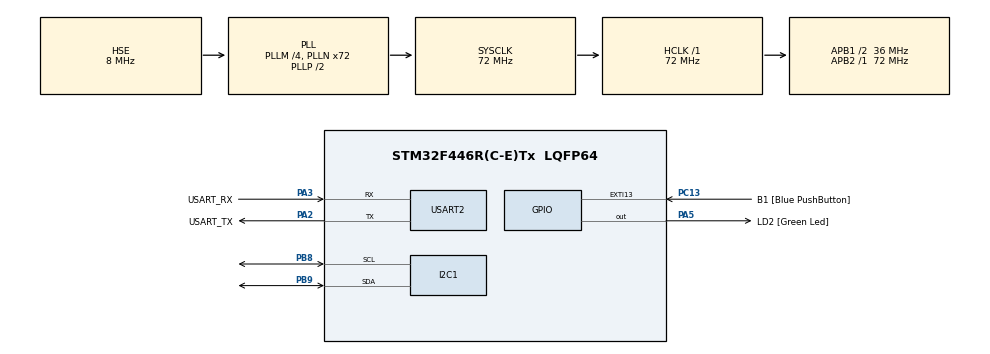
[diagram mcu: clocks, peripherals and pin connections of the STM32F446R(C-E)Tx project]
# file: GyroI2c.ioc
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Mcu.Family=STM32F4
Mcu.Name=STM32F446R(C-E)Tx
Mcu.Package=LQFP64
NVIC.I2C1_EV_IRQn=true\:0\:0\:false\:false\:true\:true\:true\:true
NVIC.PriorityGroup=NVIC_PRIORITYGROUP_0
PA13.GPIO_Label=TMS
PA13.Mode=Trace_Asynchronous_SW
PA13.Signal=SYS_JTMS-SWDIO
PA14.GPIO_Label=TCK
PA14.Mode=Trace_Asynchronous_SW
PA14.Signal=SYS_JTCK-SWCLK
PA2.GPIO_Label=USART_TX
PA2.Mode=Asynchronous
PA2.Signal=USART2_TX
PA3.GPIO_Label=USART_RX
PA3.Mode=Asynchronous
PA3.Signal=USART2_RX
PA5.GPIO_Label=LD2 [Green Led]
PA5.Signal=GPIO_Output
PB3.GPIO_Label=SWO
PB3.Mode=Trace_Asynchronous_SW
PB3.Signal=SYS_JTDO-SWO
PB8.GPIO_Pu=GPIO_PULLUP
PB8.Mode=I2C
PB8.Signal=I2C1_SCL
PB9.GPIO_Pu=GPIO_PULLUP
PB9.Mode=I2C
PB9.Signal=I2C1_SDA
PC13.GPIO_Label=B1 [Blue PushButton]
PC13.GPIO_ModeDefaultEXTI=GPIO_MODE_IT_FALLING
PC13.Signal=GPXTI13
PC14-OSC32_IN.Mode=LSE-External-Oscillator
PC14-OSC32_IN.Signal=RCC_OSC32_IN
PC15-OSC32_OUT.Mode=LSE-External-Oscillator
PC15-OSC32_OUT.Signal=RCC_OSC32_OUT
PH0-OSC_IN.Mode=HSE-External-Oscillator
PH0-OSC_IN.Signal=RCC_OSC_IN
PH1-OSC_OUT.Mode=HSE-External-Oscillator
PH1-OSC_OUT.Signal=RCC_OSC_OUT
ProjectManager.HeapSize=0x200
ProjectManager.StackSize=0x400
ProjectManager.TargetToolchain=STM32CubeIDE
RCC.48MHZClocksFreq_Value=84000000
RCC.AHBFreq_Value=72000000
RCC.APB1CLKDivider=RCC_HCLK_DIV2
RCC.APB1Freq_Value=36000000
RCC.APB1TimFreq_Value=72000000
RCC.APB2Freq_Value=72000000
RCC.APB2TimFreq_Value=72000000
RCC.CortexFreq_Value=72000000
RCC.FLatency-AdvancedSettings=FLASH_LATENCY_2
RCC.HCLKFreq_Value=72000000
RCC.HSE_VALUE=8000000
RCC.HSI_VALUE=16000000
RCC.PLLM=4
RCC.PLLN=72
RCC.PLLQ=3
RCC.PLLSourceVirtual=RCC_PLLSOURCE_HSE
RCC.SYSCLKFreq_VALUE=72000000
RCC.SYSCLKSource=RCC_SYSCLKSOURCE_PLLCLK
RCC.USBFreq_Value=48000000
RCC.VCOOutputFreq_Value=144000000
USART2.VirtualMode=VM_ASYNC
board=NUCLEO-F446RE

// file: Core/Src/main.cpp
/* USER CODE BEGIN Header */
/**
 ******************************************************************************
 * @file           : main.c
 * @brief          : Main program body
 ******************************************************************************
 * @attention
 *
 * Copyright (c) 2023 STMicroelectronics.
 * All rights reserved.
 *
 * This software is licensed under terms that can be found in the LICENSE file
 * in the root directory of this software component.
 * If no LICENSE file comes with this software, it is provided AS-IS.
 *
 ******************************************************************************
 */
/* USER CODE END Header */
#include "main.h"

/* USER CODE BEGIN Includes */
#include "ICM_20948.h"

/* USER CODE END Includes */

I2C_HandleTypeDef hi2c1;

UART_HandleTypeDef huart2;
#define SAMPLE_PERIOD 1

/* USER CODE BEGIN PV */
//static const uint8_t TMP102_ADDR = 0x52 << 1; // Use 8-bit address
//static const uint8_t REG_TEMP = 0x00;
uint8_t addr = 0b1101001 << 1;
/* USER CODE END PV */

void SystemClock_Config(void);
static void MX_GPIO_Init(void);
static void MX_USART2_UART_Init(void);
static void MX_I2C1_Init(void);

/* USER CODE BEGIN 0 */

//void i2cscanner() {
//
//	int i, ret;
//
//	sendToUsb((uint8_t*) "Scan start.\n");
//
//	for (i = 1; i < 128; i++) {
//
//		ret = HAL_I2C_IsDeviceReady(&hi2c2, (uint16_t) (i << 1), 3, 5);
//
//		if (ret == HAL_OK) /* No ACK Received At That Address */
//
//		{
//
//			sprintf((char*) buffer, "0x%X ", i);
//
//			sendToUsb(buffer);
//
//		}
//
//	}
//
//	sendToUsb((uint8_t*) "Scan done.\n");
//}

void Uprint(char message[]){
	char uart_buf[100];
	int uart_buf_len;
	uart_buf_len = sprintf(uart_buf, message);
	HAL_UART_Transmit(&huart2, (uint8_t *)uart_buf, uart_buf_len, 100);
}

int16_t twoComplementToDec(uint16_t val) {
	if ((val & 0x8000) == 0) {
		return val;
	} else {
		val = ~(val) + 1;
		return -val;
	}
}

uint16_t addBinary(uint8_t lowByte, uint8_t highByte) {
	return ((highByte << 8) | lowByte);
}

HAL_StatusTypeDef readReg(int regAddress, uint8_t *buf,
		int dataAmount) {
	HAL_StatusTypeDef ret;
	ret = HAL_I2C_Mem_Read(&hi2c1, addr, regAddress, 1, buf, dataAmount,
	HAL_MAX_DELAY);
	return ret;
}

int16_t getGyroX() {
	uint8_t buf[2];
	HAL_StatusTypeDef ret;

	ret = readReg(0x33, buf, 2);
	int xGyro = twoComplementToDec(addBinary(buf[1], buf[0]));

	if (ret == HAL_OK) {
		return xGyro / 1;
	} else {
		return -99;
	}
}

int getTemp(){
	uint8_t buf[2];
	HAL_StatusTypeDef ret;

//	ret = HAL_I2C_Mem_Read(&hi2c1, addr, 0x39, 1, buf, 2, HAL_MAX_DELAY);
	ret = readReg(0x39, buf, 2);
	int temp = twoComplementToDec(addBinary(buf[1], buf[0]));

	if (ret == HAL_OK) {
		return ((temp - 21) / 400) + 21;
	} else {
		return -99;
	}

//	uint8_t buf[1];
//	uint8_t buf2[1];
//	uint16_t ans;
//	HAL_StatusTypeDef ret;
//	ret = HAL_I2C_Mem_Read(&hi2c1, addr, 0x3A, 1, buf, 1, HAL_MAX_DELAY);
//	ret = HAL_I2C_Mem_Read(&hi2c1, addr, 0x39, 1, buf2, 1, HAL_MAX_DELAY);
//
//	if (ret == HAL_OK) {
//		ans = ((((buf2[0]<<8) | buf[0]) - 21)/400) + 21;
//	} else {
//		ans = 0;
//	}
//	return ans;
}

HAL_StatusTypeDef configReg(int regAddress, int regSize, int data){
	HAL_StatusTypeDef ret;
	uint8_t temp = data;
	ret = HAL_I2C_Mem_Write(&hi2c1, addr, regAddress, regSize, &temp, regSize, HAL_MAX_DELAY);

	return ret;
}

void configIMU(){
	HAL_StatusTypeDef ret;

//	Clock and sleep settings
	ret = configReg(0x06, 1, 0b00000001);
//	Ensure that accelerometer and gyroscope are both enabled
	ret = configReg(0x07, 1, 0b00000000);
//	Gyro Config
//	ret = configReg(0x01, 1, 0b00110111);
//	ret = configReg(0x02, 1, 0b00000000);
//	Accel Config
//	ret = configReg(0x20, 1, 0b00000001);
//	ret = configReg(0x21, 1, 0b00000000);

//	Mag Config
//	ret = configReg(0x31, 1, 0b00000010);

	if (ret == HAL_OK) {
		Uprint("write worked\r\n");
	} else {
		Uprint("write failed\r\n");
	}

	uint8_t buf[1];
	char str[10];

	ret = HAL_I2C_Mem_Read(&hi2c1, addr, 0x01, 1, buf, 1, HAL_MAX_DELAY);
	if (ret == HAL_OK) {
			Uprint("read worked\r\n");
			sprintf(str, "%d\r\n", buf[0]);
			Uprint(str);
		} else {
			Uprint("read failed\r\n");
		}

}

/* USER CODE END 0 */

int main(void)
{

  /* MCU Configuration--------------------------------------------------------*/

  /* Reset of all peripherals, Initializes the Flash interface and the Systick. */
  HAL_Init();

  /* Configure the system clock */
  SystemClock_Config();

  /* Initialize all configured peripherals */
  MX_GPIO_Init();
  MX_USART2_UART_Init();
  MX_I2C1_Init();
  /* USER CODE BEGIN 2 */

  HAL_StatusTypeDef ret = HAL_I2C_IsDeviceReady(&hi2c1, addr, 1, 100);
  if(ret == HAL_OK){
	  Uprint("The device is ready\r\n");
  }
  else {
	  Uprint("The device is not ready. Check cables\r\n");
  }

  configIMU();

  /* USER CODE END 2 */

  /* Infinite loop */
  /* USER CODE BEGIN WHILE */

//	HAL_StatusTypeDef ret;
//	uint8_t buf[12];
//	int16_t val;
//	float temp_c;

  	ICM_20948 IMU(hi2c1, addr);
	FusionAhrs ahrs;
	FusionAhrsInitialise(&ahrs);

	while (1)
	{

    /* USER CODE END WHILE */
//		uint8_t buf[1];
//		uint8_t buf2[1];
		char str[100];
//		ret = HAL_I2C_Mem_Read(&hi2c1, addr, 0x30, 1, buf, 1, HAL_MAX_DELAY);
//		ret = HAL_I2C_Mem_Read(&hi2c1, addr, 0x2F, 1, buf2, 1, HAL_MAX_DELAY);
//		if (ret == HAL_OK) {
////			Uprint("read worked\r\n");
//			uint16_t ans = ((buf2[0]<<8) | buf[0]);
//			sprintf(str, "%d\r\n", ans);
//			Uprint(str);
//		} else {
//			Uprint("read failed\r\n");
//		}

//		sprintf(str, "ACCEL X:%f Y:%f Z:%f\r\n", IMU.getAccelX(), IMU.getAccelY(), IMU.getAccelZ());
//		Uprint(str);
//		sprintf(str, "GYRO X:%d Y:%d Z:%d\r\n", IMU.getGyroX(), IMU.getGyroY(), IMU.getGyroZ());
//		Uprint(str);

		IMU.updateIMU();
		const FusionVector gyroscope = { IMU.getGyroX(), IMU.getGyroY(), IMU.getGyroZ() }; // replace this with actual gyroscope data in degrees/s
		const FusionVector accelerometer = { IMU.getAccelX(), IMU.getAccelY(), IMU.getAccelZ()}; // replace this with actual accelerometer data in g
		FusionAhrsUpdateNoMagnetometer(&ahrs, gyroscope, accelerometer,
						SAMPLE_PERIOD);
		const FusionEuler euler = FusionQuaternionToEuler(FusionAhrsGetQuaternion(&ahrs));
		sprintf(str,"Roll %0.1f, Pitch %0.1f, Yaw %0.1f\r\n", euler.angle.roll, euler.angle.pitch, euler.angle.yaw);
//		sprintf(str, "%f\r\n", IMU.getMagX());
		Uprint(str);
		HAL_Delay(1000);

	}
}

void SystemClock_Config(void)
{
  RCC_OscInitTypeDef RCC_OscInitStruct = {0};
  RCC_ClkInitTypeDef RCC_ClkInitStruct = {0};

  /** Configure the main internal regulator output voltage
  */
  __HAL_RCC_PWR_CLK_ENABLE();
  __HAL_PWR_VOLTAGESCALING_CONFIG(PWR_REGULATOR_VOLTAGE_SCALE3);

  /** Initializes the RCC Oscillators according to the specified parameters
  * in the RCC_OscInitTypeDef structure.
  */
  RCC_OscInitStruct.OscillatorType = RCC_OSCILLATORTYPE_HSE;
  RCC_OscInitStruct.HSEState = RCC_HSE_ON;
  RCC_OscInitStruct.PLL.PLLState = RCC_PLL_ON;
  RCC_OscInitStruct.PLL.PLLSource = RCC_PLLSOURCE_HSE;
  RCC_OscInitStruct.PLL.PLLM = 4;
  RCC_OscInitStruct.PLL.PLLN = 72;
  RCC_OscInitStruct.PLL.PLLP = RCC_PLLP_DIV2;
  RCC_OscInitStruct.PLL.PLLQ = 3;
  RCC_OscInitStruct.PLL.PLLR = 2;
  if (HAL_RCC_OscConfig(&RCC_OscInitStruct) != HAL_OK)
  {
    Error_Handler();
  }

  /** Initializes the CPU, AHB and APB buses clocks
  */
  RCC_ClkInitStruct.ClockType = RCC_CLOCKTYPE_HCLK|RCC_CLOCKTYPE_SYSCLK
                              |RCC_CLOCKTYPE_PCLK1|RCC_CLOCKTYPE_PCLK2;
  RCC_ClkInitStruct.SYSCLKSource = RCC_SYSCLKSOURCE_PLLCLK;
  RCC_ClkInitStruct.AHBCLKDivider = RCC_SYSCLK_DIV1;
  RCC_ClkInitStruct.APB1CLKDivider = RCC_HCLK_DIV2;
  RCC_ClkInitStruct.APB2CLKDivider = RCC_HCLK_DIV1;

  if (HAL_RCC_ClockConfig(&RCC_ClkInitStruct, FLASH_LATENCY_2) != HAL_OK)
  {
    Error_Handler();
  }
}

static void MX_I2C1_Init(void)
{

  hi2c1.Instance = I2C1;
  hi2c1.Init.ClockSpeed = 100000;
  hi2c1.Init.DutyCycle = I2C_DUTYCYCLE_2;
  hi2c1.Init.OwnAddress1 = 0;
  hi2c1.Init.AddressingMode = I2C_ADDRESSINGMODE_7BIT;
  hi2c1.Init.DualAddressMode = I2C_DUALADDRESS_DISABLE;
  hi2c1.Init.OwnAddress2 = 0;
  hi2c1.Init.GeneralCallMode = I2C_GENERALCALL_DISABLE;
  hi2c1.Init.NoStretchMode = I2C_NOSTRETCH_DISABLE;
  if (HAL_I2C_Init(&hi2c1) != HAL_OK)
  {
    Error_Handler();
  }

}

static void MX_USART2_UART_Init(void)
{

  huart2.Instance = USART2;
  huart2.Init.BaudRate = 115200;
  huart2.Init.WordLength = UART_WORDLENGTH_8B;
  huart2.Init.StopBits = UART_STOPBITS_1;
  huart2.Init.Parity = UART_PARITY_NONE;
  huart2.Init.Mode = UART_MODE_TX_RX;
  huart2.Init.HwFlowCtl = UART_HWCONTROL_NONE;
  huart2.Init.OverSampling = UART_OVERSAMPLING_16;
  if (HAL_UART_Init(&huart2) != HAL_OK)
  {
    Error_Handler();
  }

}

static void MX_GPIO_Init(void)
{
  GPIO_InitTypeDef GPIO_InitStruct = {0};

  /* GPIO Ports Clock Enable */
  __HAL_RCC_GPIOC_CLK_ENABLE();
  __HAL_RCC_GPIOH_CLK_ENABLE();
  __HAL_RCC_GPIOA_CLK_ENABLE();
  __HAL_RCC_GPIOB_CLK_ENABLE();

  /*Configure GPIO pin Output Level */
  HAL_GPIO_WritePin(LD2_GPIO_Port, LD2_Pin, GPIO_PIN_RESET);

  /*Configure GPIO pin : B1_Pin */
  GPIO_InitStruct.Pin = B1_Pin;
  GPIO_InitStruct.Mode = GPIO_MODE_IT_FALLING;
  GPIO_InitStruct.Pull = GPIO_NOPULL;
  HAL_GPIO_Init(B1_GPIO_Port, &GPIO_InitStruct);

  /*Configure GPIO pin : LD2_Pin */
  GPIO_InitStruct.Pin = LD2_Pin;
  GPIO_InitStruct.Mode = GPIO_MODE_OUTPUT_PP;
  GPIO_InitStruct.Pull = GPIO_NOPULL;
  GPIO_InitStruct.Speed = GPIO_SPEED_FREQ_LOW;
  HAL_GPIO_Init(LD2_GPIO_Port, &GPIO_InitStruct);

}

void Error_Handler(void)
{
			__disable_irq();
			while (1) {
			}
}
